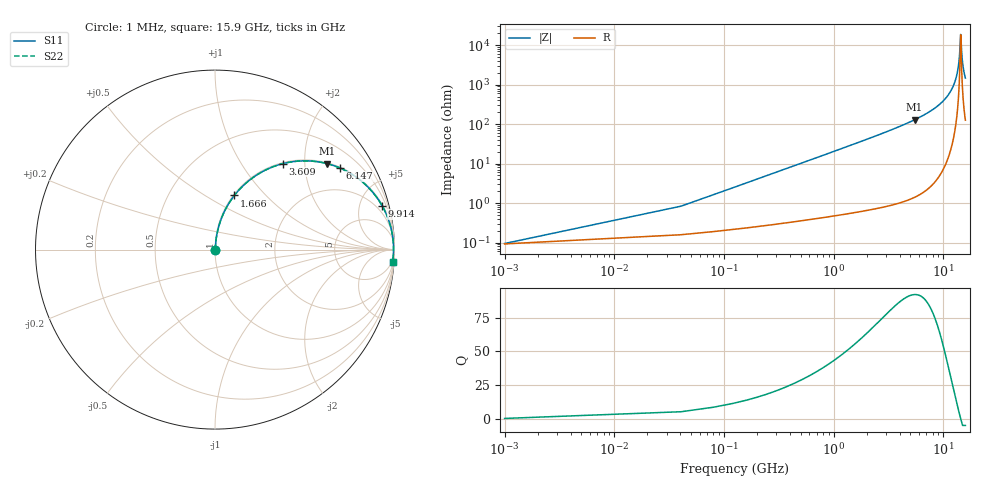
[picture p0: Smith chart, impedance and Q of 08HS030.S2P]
! Coilcraft 0805HS-030 Chip Inductor
! 13 June 2002
# MHZ S MA R 50
!Freq  MagS11  AngS11  MagS21  AngS21  MagS12  AngS12  MagS22  AngS22
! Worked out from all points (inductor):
!   402 points, 1 MHz to 15.9 GHz, reference 50 ohm
!   read as one part in series: L = 3.21 nH near 80.3 MHz
!   highest Q = 92.3 at 5.473 GHz (marker M1), where L = 3.75 nH
!   self-resonance near 14.39 GHz
!   S11 on the Smith chart (normalised r, x): 1 MHz: 1.00, +0.00; 1.666 GHz: 1.01, +0.68; 3.609 GHz: 1.02, +1.55; 6.147 GHz: 1.03, +3.03; 9.914 GHz: 1.14, +7.59; 15.9 GHz: 4, -29
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1  0.0009429 12.3  0.9991 -0.0  0.9991 -0.0  0.0009429 12.3
119.95  0.02423 83.6  0.9976 -1.4  0.9976 -1.4  0.02423 83.6
199.25  0.04014 84.1  0.9967 -2.3  0.9967 -2.3  0.04014 84.1
357.85  0.07188 83.4  0.9943 -4.1  0.9943 -4.1  0.07188 83.4
833.65  0.1657 79.0  0.9819 -9.5  0.9819 -9.5  0.1657 79.0
1666.3  0.3208 70.3  0.9416 -18.7  0.9416 -18.7  0.3208 70.3
2657.55  0.4824 60.4  0.8694 -28.8  0.8694 -28.8  0.4824 60.4
3609.15  0.6099 51.7  0.7852 -37.6  0.7852 -37.6  0.6099 51.7
5314.1  0.7745 38.6  0.6243 -50.8  0.6243 -50.8  0.7745 38.6
5472.7  0.7862 37.6  0.6095 -51.8  0.6095 -51.8  0.7862 37.6
6146.75  0.8305 33.2  0.548 -56.1  0.548 -56.1  0.8305 33.2
7970.65  0.9139 23.2  0.3946 -66.0  0.3946 -66.0  0.9139 23.2
9913.5  0.9627 14.7  0.2537 -74.3  0.2537 -74.3  0.9627 14.7
10627.2  0.9737 12.0  0.2073 -76.8  0.2073 -76.8  0.9737 12.0
12213.2  0.9889 6.5  0.1132 -81.1  0.1132 -81.1  0.9889 6.5
13283.75  0.9935 3.2  0.05595 -81.7  0.05595 -81.7  0.9935 3.2
13918.15  0.9946 1.4  0.02436 -76.5  0.02436 -76.5  0.9946 1.4
14393.95  0.9947 0.0  0.005314 -8.7  0.005314 -8.7  0.9947 0.0
14473.25  0.9947 -0.2  0.006046 29.0  0.006046 29.0  0.9947 -0.2
14711.15  0.9945 -0.8  0.01509 68.4  0.01509 68.4  0.9945 -0.8
14988.7  0.9942 -1.5  0.02744 77.0  0.02744 77.0  0.9942 -1.5
15900  0.992 -3.9  0.06746 81.2  0.06746 81.2  0.992 -3.9
